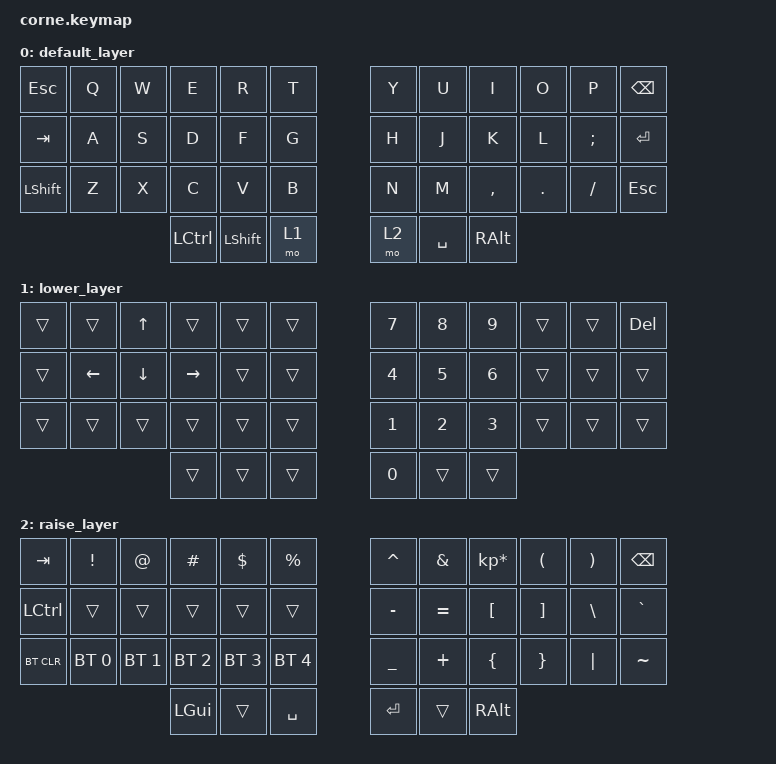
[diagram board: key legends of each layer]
/*
 * Copyright (c) 2020 The ZMK Contributors
 *
 * SPDX-License-Identifier: MIT
 */

#include <behaviors.dtsi>
#include <dt-bindings/zmk/keys.h>
#include <dt-bindings/zmk/bt.h>

/ {
        keymap {
                compatible = "zmk,keymap";

                default_layer {
// -----------------------------------------------------------------------------------------
// | ESC |  Q  |  W  |  E  |  R  |  T  |   |  Y  |  U   |  I  |  O  |  P  | BKSP |
// | TAB |  A  |  S  |  D  |  F  |  G  |   |  H  |  J   |  K  |  L  |  ;  |  RET |
// | SHFT |  Z  |  X  |  C  |  V  |  B  |   |  N  |  M   |  ,  |  .  |  /  | ESC  |
//                    | LCTR | LWR | RET|   | SPC | RSE  | ALT |
                        bindings = <
   &kp ESC   &kp Q &kp W &kp E &kp R &kp T   &kp Y &kp U  &kp I     &kp O   &kp P    &kp BSPC
   &kp TAB   &kp A &kp S &kp D &kp F &kp G   &kp H &kp J  &kp K     &kp L   &kp SEMI &kp RET
   &kp LSHFT &kp Z &kp X &kp C &kp V &kp B   &kp N &kp M  &kp COMMA &kp DOT &kp FSLH &kp ESC
                &kp LCTRL & LSHFT &mo 1   &mo 2 &kp SPACE &kp RALT 
                        >;
                };
                lower_layer {
// -----------------------------------------------------------------------------------------
// |      |     |  UP  |     |     |     |   |  N7   |  N8  |  N9 |     |     | DEL |
// |      |LEFT | DOWN |RIGHT| BT4 | BT5 |   |  N4   |  N5  |  N6 |     |     |      |
// |      |     |      |     |     |     |   |  N1   |  N2  |  N3 |     |     |      |
//                     |     |     |     |   |  N0 |     |    |
                        bindings = <
   &trans &trans   &kp UP   &trans    &trans &trans     &kp N7 &kp N8 &kp N9 &trans &trans &kp DEL
   &trans &kp LEFT &kp DOWN &kp RIGHT &trans &trans     &kp N4 &kp N5 &kp N6 &trans &trans &trans
   &trans &trans   &trans   &trans    &trans &trans     &kp N1 &kp N2 &kp N3 &trans &trans &trans
                              &trans &trans &trans      &kp N0  &trans   &trans
                        >;
                };

                raise_layer {
// -----------------------------------------------------------------------------------------
// |  TAB |  !  |  @  |  #  |  $  |  %  |   |  ^  |  &  |  *  |  (  |  )  | BKSP |
// | CTRL |     |     |     |     |     |   |  -  |  =  |  [  |  ]  |  \  |  `   |
// | BT_CLR |BT_SEL 1|BT_SEL 2|BT_SEL 3|BT_SEL 4|BT_SEL 5|   |  _  |  +  |  {  |  }  | "|" |  ~   |
//                    | GUI |     | SPC |   | ENT |     | ALT |
                        bindings = <
   &kp TAB    &kp EXCL     &kp AT       &kp HASH    &kp DLLR     &kp PRCNT   &kp CARET &kp AMPS  &kp KP_MULTIPLY &kp LPAR   &kp RPAR &kp BSPC
   &kp LCTRL  &trans       &trans       &trans      &trans       &trans      &kp MINUS &kp EQUAL &kp LBKT        &kp RBKT   &kp BSLH &kp GRAVE
   &bt BT_CLR &bt BT_SEL 0 &bt BT_SEL 1 &bt BT_SEL 2 &bt BT_SEL 3 &bt BT_SEL 4 &kp UNDER &kp PLUS  &kp LBRC        &kp RBRC   &kp PIPE &kp TILDE
                    	       &kp LGUI &trans &kp SPACE   &kp RET &trans &kp RALT
                        >;
                };
        };
};
